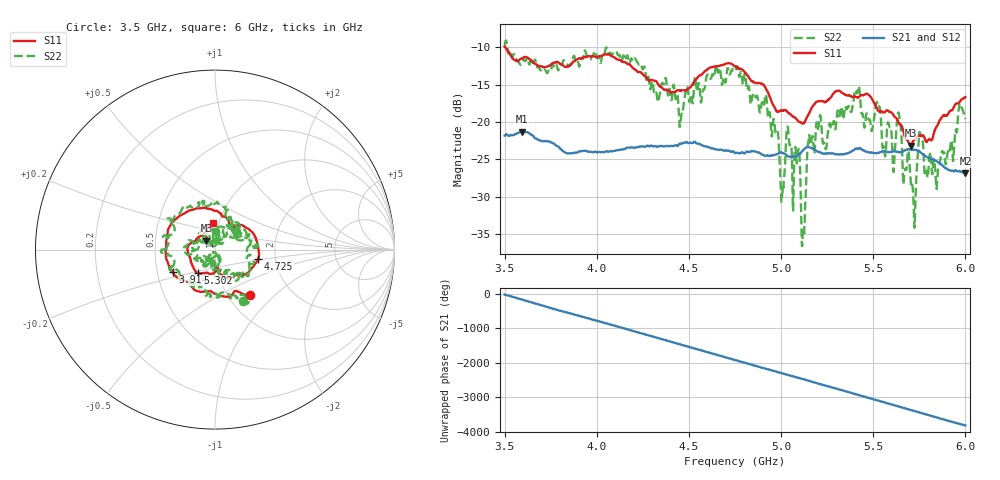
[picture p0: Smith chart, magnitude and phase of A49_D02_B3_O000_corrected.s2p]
! Created with skrf 1.9.0 (http://scikit-rf.org).
# Hz S RI R 50.0
!freq ReS11 ImS11 ReS21 ImS21 ReS12 ImS12 ReS22 ImS22
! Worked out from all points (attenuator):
!   1601 points, 3.5 GHz to 6 GHz, reference 50 ohm
!   highest |S21| = -21.29 dB at 3.592 GHz (marker M1); lowest = -26.8 dB at 6 GHz (marker M2)
!   lowest |S11| = -23.1 dB at 5.703 GHz (marker M3), VSWR 1.15, Z = 45.2 + j4.59 ohm
!   |S11| at or under -10 dB: 3.503 GHz to end of sweep
!   |S22| runs from -36.6 to -9.1 dB; largest |S21 - S12| = 0.00093
!   S11 on the Smith chart (normalised r, x): 3.5 GHz: 1.26, -0.71; 3.914 GHz: 0.60, -0.16; 4.725 GHz: 1.62, -0.18; 5.302 GHz: 0.80, -0.21; 6 GHz: 0.94, +0.28
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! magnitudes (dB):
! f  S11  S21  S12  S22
! 3.5 GHz  -9.9  -21.8  -21.8  -9.7
! 3.592 GHz  -11.5  -21.3  -21.3  -12.3
! 3.914 GHz  -11.5  -23.9  -23.9  -11.5
! 3.917 GHz  -11.5  -23.9  -23.9  -11.4
! 4.334 GHz  -15.0  -23.3  -23.2  -17.2
! 4.456 GHz  -15.8  -22.9  -22.9  -19.5
! 4.725 GHz  -12.2  -24.0  -23.9  -13.5
! 4.75 GHz  -12.5  -24.2  -24.1  -13.1
! 4.925 GHz  -15.9  -24.4  -24.4  -18.1
! 5.006 GHz  -18.5  -24.1  -24.1  -29.5
! 5.037 GHz  -18.7  -24.6  -24.5  -20.9
! 5.088 GHz  -19.7  -24.5  -24.5  -25.2
! 5.12 GHz  -20.2  -23.8  -23.7  -34.5
! 5.167 GHz  -18.0  -23.5  -23.5  -22.1
! 5.302 GHz  -15.8  -24.3  -24.3  -19.5
! 5.414 GHz  -16.7  -23.6  -23.6  -15.9
! 5.584 GHz  -18.6  -24.0  -24.0  -20.2
! 5.612 GHz  -19.2  -23.9  -23.8  -25.9
! 5.641 GHz  -20.2  -24.1  -24.0  -19.1
! 5.703 GHz  -23.1  -23.7  -23.7  -27.9
! 5.72 GHz  -22.4  -23.7  -23.7  -31.8
! 6 GHz  -16.7  -26.8  -26.8  -19.6
